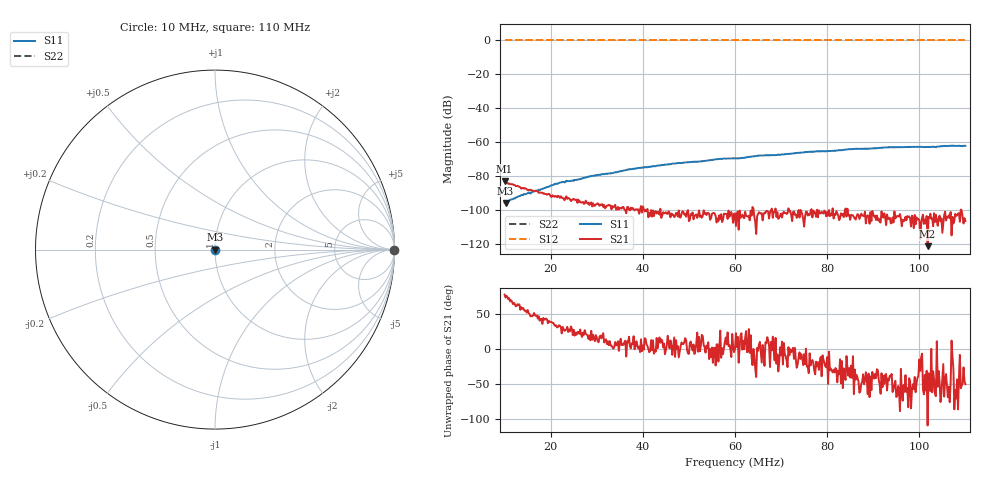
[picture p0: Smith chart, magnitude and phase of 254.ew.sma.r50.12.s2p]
! Anritsu VNA Master:  Model: MS2036C/10/77
! SN:  1601066
! /card0/usr/254.ew.sma.r50.12.s2p
! Existing Calibration Information:
! TYPE:  Current Settings,  Active Cal Settings
! TIME:  12/20/2017 12:40:34 PM,  12/20/2017 12:32:09 PM
! INTERNAL TEMP:  45.0 C,  45.8 C
! # POINTS:  501,  501
! START FREQ:  10.000 MHz,  10.000 MHz
! STOP FREQ:  110.000 MHz,  110.000 MHz
! SOURCE POWER:  High,  High
! IFBW:  100 Hz,  100 Hz
! AVG FACTOR:  1 ,  1
! REF PLANE 1:  0 mm,  0 mm
! REF PLANE 2:  0 mm,  0 mm
! CAL TYPE:  Full S11,  Full S11
! CAL METHOD:  SOLT,  SOLT
! CAL LINE TYPE:  Coax,  Coax
! DUT PORT 1:  N-Conn(F),  N-Conn(F)
! DUT PORT 2:  K-Conn(F),  K-Conn(F)
! CAL STATUS:  OK: Accuracy High,  --
# GHZ S DB R 50.0
! FREQ.GHZ  S11DB  S11A  S21DB  S21A  S12DB  S12A  S22DB  S22A
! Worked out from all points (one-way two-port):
!   501 points, 10 MHz to 110 MHz, reference 50 ohm
!   highest |S21| = -82.94 dB at 10 MHz (marker M1); lowest = -121.1 dB at 101.8 MHz (marker M2)
!   lowest |S11| = -95.7 dB at 10.2 MHz (marker M3), VSWR 1.00, Z = 50 - j0.000495 ohm
!   |S11| at or under -10 dB: start of sweep to end of sweep
!   |S22| runs from 0.0 to 0.0 dB; largest |S21 - S12| = 1
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0.01  -95.42 -15.6  -82.94 78.6  0.00 0.0  0.00 0.0
0.0102  -95.69 -17.5  -83.48 74.2  0.00 0.0  0.00 0.0
0.0268  -81.20 -36.9  -95.25 17.6  0.00 0.0  0.00 0.0
0.029  -79.72 -36.5  -97.69 13.6  0.00 0.0  0.00 0.0
0.0332  -78.18 -37.7  -99.42 5.2  0.00 0.0  0.00 0.0
0.037  -75.86 -42.1  -99.68 18.0  0.00 0.0  0.00 0.0
0.0434  -73.54 -43.4  -100.98 10.5  0.00 0.0  0.00 0.0
0.0476  -72.17 -45.1  -103.69 4.4  0.00 0.0  0.00 0.0
0.053  -71.08 -48.3  -103.28 19.2  0.00 0.0  0.00 0.0
0.0564  -69.83 -50.3  -106.45 -17.6  0.00 0.0  0.00 0.0
0.06  -69.47 -49.0  -101.93 -0.2  0.00 0.0  0.00 0.0
0.0618  -69.13 -53.5  -104.14 12.2  0.00 0.0  0.00 0.0
0.065  -67.83 -55.3  -102.29 -2.4  0.00 0.0  0.00 0.0
0.0686  -67.52 -55.9  -100.82 -16.0  0.00 0.0  0.00 0.0
0.0768  -65.42 -62.8  -104.16 -15.4  0.00 0.0  0.00 0.0
0.081  -64.96 -65.0  -102.83 -30.6  0.00 0.0  0.00 0.0
0.0858  -63.92 -66.9  -103.95 -64.4  0.00 0.0  0.00 0.0
0.0892  -63.62 -68.7  -107.87 -68.7  0.00 0.0  0.00 0.0
0.0934  -62.91 -70.6  -105.12 -44.7  0.00 0.0  0.00 0.0
0.1018  -62.72 -74.2  -121.09 -109.4  0.00 0.0  0.00 0.0
0.107  -61.95 -79.4  -114.73 12.4  0.00 0.0  0.00 0.0
0.11  -62.02 -84.7  -106.25 -50.2  0.00 0.0  0.00 0.0
